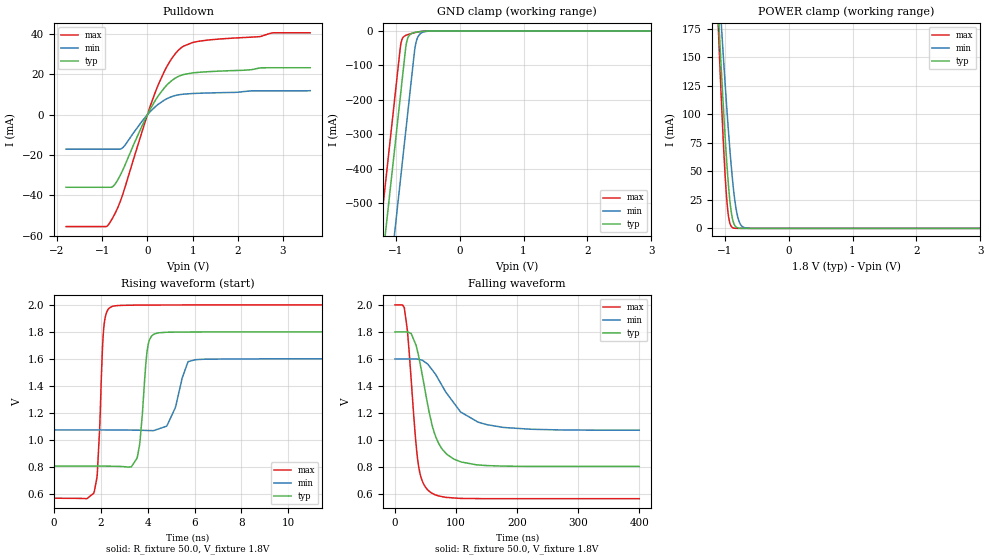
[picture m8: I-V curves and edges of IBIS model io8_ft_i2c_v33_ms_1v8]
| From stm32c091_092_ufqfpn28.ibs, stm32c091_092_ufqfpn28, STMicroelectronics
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[Model]   io8_ft_i2c_v33_ms_1v8
Model_type I/O_open_drain
Polarity   Non-Inverting
Enable   Active-Low
| CAP_THRESHOLD on pad IOFT is "UDTCAPC" :
| Rising=30.0% of vddiom   Falling=70.0% of vddiom
| C_comp min and max val. don't necessarily correlate with the min and max pvt
| but are the smallest and greatest pad capacitance found.
| var   typ   min   max
C_comp   2.20140pF  2.17990pF  2.25295pF
|C_comp_pulldown   2.20140pF  2.17990pF  2.25295pF
Vinl = 800.0mV
Vinh = 1.0V
Vmeas = 900.0mV   | Reference voltage for timing measurements
Cref  = 50.0pF   | Timing specification test load capacitance value
Rref  = 1.0MOhm   | Timing specification test load resistance value
Vref  = 990.0mV   | Timing specification test load voltage
[Model Spec]
| TIME_THRESHOLD on pin ZII2CV12 is "CMOS" :
| Rising=50.0% of vdd   Falling=50.0% of vdd
Vinl 728.70000mV 652.70000mV 817.70000mV
Vinh 1.06430V 953.30000mV 1.16330V
| variable   typ   min   max
[Temperature Range] 25.0 125.0 -40.0
| variable   typ   min   max
[Voltage Range] 1.8V 1.6V 2.0V
| variable   typ   min   max
[POWER Clamp Reference] 1.8V 1.6V 2.0V
| variable   typ   min   max
[GND Clamp Reference] 0V 0V 0V
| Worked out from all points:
|   slope of the pulldown table from 0 to 0.27 V, typ, clamps not added: 26.4 ohm
|   GND clamp passes 1 mA (typ) near -0.58 V on its own axis
|   POWER clamp passes 1 mA (typ) near -0.81 V on its own axis
|   rising waveform, R_fixture 50.0, V_fixture 1.8V: 20-80 % time 261ps typ, 527ps min, 200ps max; typ from 0.804 V to 1.8 V
|   falling waveform, R_fixture 50.0, V_fixture 1.8V: 20-80 % time 29ns typ, 53.6ns min, 15.1ns max; typ from 1.8 V to 0.804 V
[POWER Clamp]
-1.8V     1.053A     933.5mA    1.262A
-1.1V     191.1mA    222.7mA    177.1mA
-1.08V    169mA      204.2mA    149.9mA
-1.05V    136.9mA    176.9mA    110.9mA
-1.01V    96.55mA    141.6mA    64.02mA
-980mV    68.91mA    116.4mA    35.23mA
-940mV    37.57mA    84.83mA    10.65mA
-880mV    8.969mA    44.34mA    807.4uA
-830mV    1.697mA    20.19mA    75.79uA
-790mV    394.2uA    8.787mA    11.25uA
-670mV    4.467uA    374.2uA    36.56nA
3.6V      0A         0A         0A
[GND Clamp]
-1.8V     -1.676A    -1.92A     -1.532A
-1.24V    -723.6mA   -967.7mA   -579.5mA
-1.05V    -400.6mA   -644.7mA   -256.5mA
-920mV    -179.6mA   -423.7mA   -38.92mA
-890mV    -128.6mA   -372.7mA   -20.43mA
-850mV    -60.6mA    -304.7mA   -13.42mA
-830mV    -34.09mA   -270.7mA   -11.74mA
-800mV    -16.49mA   -219.7mA   -9.781mA
-690mV    -3.754mA   -41.06mA   -4.242mA
-640mV    -2.187mA   -13.34mA   -2.404mA
-570mV    -808.6uA   -3.187mA   -757.3uA
3.6V      509.6pA    49.06nA    363.2pA
| variable   typ   min   max
[Pullup Reference] 1.8V 1.6V 2.0V
| variable   typ   min   max
[Pulldown Reference] 0V 0V 0V
[Pulldown]
-1.8V     -35.95mA   -17.07mA   -55.42mA
-910mV    -35.95mA   -17.07mA   -55.42mA
-830mV    -35.95mA   -17.07mA   -53.42mA
-720mV    -34.49mA   -17.07mA   -49.08mA
-540mV    -27.18mA   -16.22mA   -39.07mA
-120mV    -5.598mA   -3.255mA   -8.496mA
240mV     9.353mA    5.171mA    14.85mA
490mV     15.96mA    8.523mA    26.14mA
750mV     19.54mA    10.04mA    33.17mA
1.37V     21.33mA    10.77mA    37.03mA
2.78V     23.24mA    11.8mA     40.53mA
3.6V      23.24mA    11.89mA    40.54mA
[Ramp]
dV/dt_r 597.45198mV/259.79546ps 316.65015mV/527.07426ps 860.77225mV/197.64988ps
dV/dt_f 597.47423mV/29.00577ns 316.70315mV/53.60613ns 860.82585mV/15.09602ns
R_load = 50.0
| Removed startup time: 0s 0s 0s  .
| Removed end time: 39.875ns.
[Rising Waveform]
R_fixture   = 50.0
V_fixture   = 1.8V
V_fixture_min = 1.6V
V_fixture_max = 2.0V
0s        804.2mV    1.072V     565.4mV
1.725ns   804.2mV    1.072V     614.6mV
1.85ns    804mV      1.072V     736.2mV
2.125ns   803.4mV    1.072V     1.821V
2.55ns    802.5mV    1.072V     1.992V
3.55ns    863.2mV    1.07V      1.998V
4.025ns   1.709V     1.068V     1.999V
4.45ns    1.792V     1.079V     1.999V
6.025ns   1.799V     1.593V     2V
39.88ns   1.8V       1.6V       2V
| Removed startup time: 0s 0s 0s  .
| Removed end time: 399.875ns.
[Falling Waveform]
R_fixture   = 50.0
V_fixture   = 1.8V
V_fixture_min = 1.6V
V_fixture_max = 2.0V
0s        1.8V       1.6V       2V
15.15ns   1.8V       1.6V       1.979V
20.33ns   1.8V       1.6V       1.807V
37.45ns   1.644V     1.598V     840.2mV
43.13ns   1.516V     1.592V     714.5mV
55.48ns   1.214V     1.55V      621.8mV
75.3ns    944.4mV    1.416V     581.9mV
108.6ns   836.7mV    1.204V     567.1mV
177.7ns   806.3mV    1.093V     565.2mV
399.9ns   804.2mV    1.072V     565.3mV
